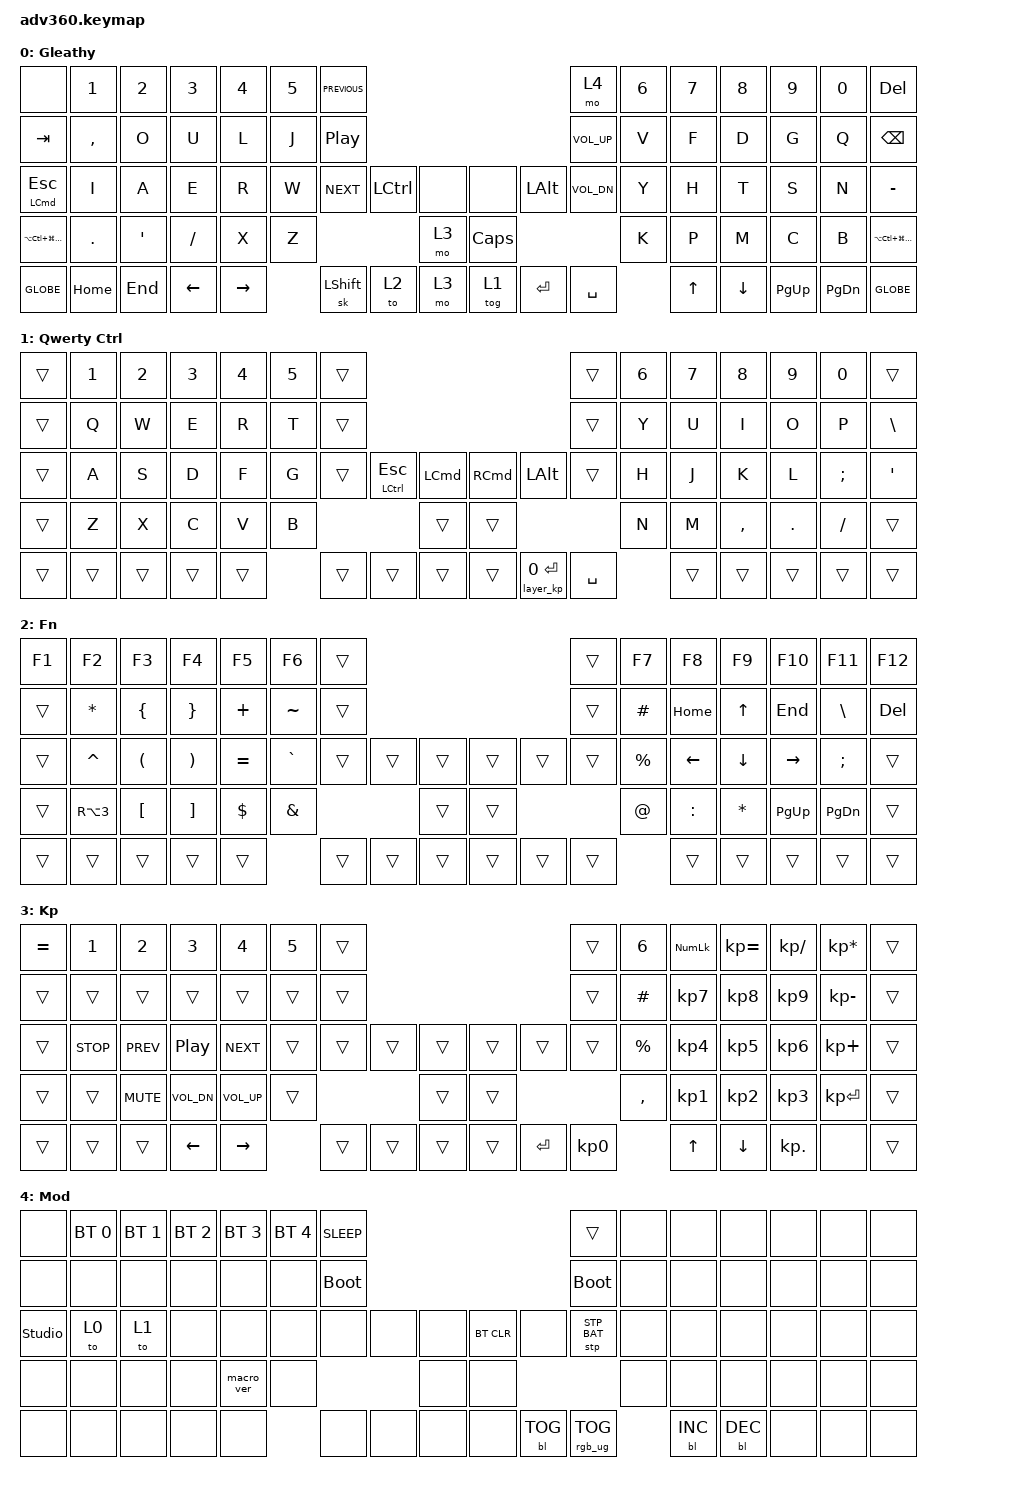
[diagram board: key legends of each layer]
#include <dt-bindings/zmk/stp.h>
#include <behaviors.dtsi>
#include <dt-bindings/zmk/backlight.h>
#include <dt-bindings/zmk/bt.h>
#include <dt-bindings/zmk/keys.h>
#include <dt-bindings/zmk/rgb.h>

&sk { quick-release; };

/ {
    behaviors {
        #include "macros.dtsi"
        #include "version.dtsi"

        hm: homerow_mods {
            compatible = "zmk,behavior-hold-tap";
            label = "HOMEROW_MODS";
            #binding-cells = <2>;
            tapping-term-ms = <200>;
            quick_tap_ms = <175>;
            flavor = "tap-preferred";
            bindings = <&kp>, <&kp>;
        };
    };

    macros {
        layer_kp: layer_then_key {
            compatible = "zmk,behavior-macro-two-param";
            #binding-cells = <2>;
            bindings = <&macro_param_1to1 &to MACRO_PLACEHOLDER &macro_param_2to1 &kp MACRO_PLACEHOLDER>;
            label = "LAYER_THEN_KEY";
        };
    };

    keymap {
        compatible = "zmk,keymap";

        gleathy {
            display-name = "Gleathy";
            bindings = <
&none                    &kp N1      &kp N2   &kp N3     &kp N4     &kp N5  &kp C_PREVIOUS                                                             &mo 4            &kp N6  &kp N7  &kp N8    &kp N9       &kp N0         &kp DELETE
&kp TAB                  &kp COMMA   &kp O    &kp U      &kp L      &kp J   &kp C_PLAY_PAUSE                                                           &kp C_VOLUME_UP  &kp V   &kp F   &kp D     &kp G        &kp Q          &kp BACKSPACE
&mt LEFT_COMMAND ESCAPE  &kp I       &kp A    &kp E      &kp R      &kp W   &kp C_NEXT        &kp LEFT_CONTROL  &none      &none         &kp LEFT_ALT  &kp C_VOL_DN     &kp Y   &kp H   &kp T     &kp S        &kp N          &kp MINUS
&kp LA(LC(LG(GLOBE)))    &kp PERIOD  &kp SQT  &kp SLASH  &kp X      &kp Z                                       &mo 3      &kp CAPSLOCK                                 &kp K   &kp P   &kp M     &kp C        &kp B          &kp LA(LC(LG(GLOBE)))
&kp GLOBE                &kp HOME    &kp END  &kp LEFT   &kp RIGHT          &sk LEFT_SHIFT    &to 2             &mo 3      &tog 1        &kp ENTER     &kp SPACE                &kp UP  &kp DOWN  &kp PAGE_UP  &kp PAGE_DOWN  &kp GLOBE
            >;
        };

        qwerty_ctrl {
            display-name = "Qwerty Ctrl";
            bindings = <
&trans  &kp N1  &kp N2  &kp N3  &kp N4  &kp N5  &trans                                                                                       &trans     &kp N6  &kp N7  &kp N8     &kp N9      &kp N0         &trans
&trans  &kp Q   &kp W   &kp E   &kp R   &kp T   &trans                                                                                       &trans     &kp Y   &kp U   &kp I      &kp O       &kp P          &kp BSLH
&trans  &kp A   &kp S   &kp D   &kp F   &kp G   &trans  &mt LEFT_CONTROL ESCAPE  &kp LEFT_COMMAND      &kp RIGHT_COMMAND  &kp LEFT_ALT       &trans     &kp H   &kp J   &kp K      &kp L       &kp SEMICOLON  &kp SQT
&trans  &kp Z   &kp X   &kp C   &kp V   &kp B                                    &trans                &trans                                           &kp N   &kp M   &kp COMMA  &kp PERIOD  &kp SLASH      &trans
&trans  &trans  &trans  &trans  &trans          &trans  &trans                   &trans                &trans             &layer_kp 0 ENTER  &kp SPACE          &trans  &trans     &trans      &trans         &trans
            >;
        };

        fn {
            display-name = "Fn";
            bindings = <
&kp F1  &kp F2            &kp F3                &kp F4                 &kp F5      &kp F6         &trans                                      &trans  &kp F7       &kp F8     &kp F9     &kp F10      &kp F11        &kp F12
&trans  &kp ASTERISK      &kp LEFT_BRACE        &kp RIGHT_BRACE        &kp PLUS    &kp TILDE      &trans                                      &trans  &kp POUND    &kp HOME   &kp UP     &kp END      &kp BACKSLASH  &kp DELETE
&trans  &kp CARET         &kp LEFT_PARENTHESIS  &kp RIGHT_PARENTHESIS  &kp EQUAL   &kp GRAVE      &trans  &trans  &trans      &trans  &trans  &trans  &kp PERCENT  &kp LEFT   &kp DOWN   &kp RIGHT    &kp SEMICOLON  &trans
&trans  &kp RA(NUMBER_3)  &kp LEFT_BRACKET      &kp RIGHT_BRACKET      &kp DOLLAR  &kp AMPERSAND                  &trans      &trans                  &kp AT_SIGN  &kp COLON  &kp ASTRK  &kp PAGE_UP  &kp PAGE_DOWN  &trans
&trans  &trans            &trans                &trans                 &trans                     &trans  &trans  &trans      &trans  &trans  &trans               &trans     &trans     &trans       &trans         &trans
            >;
        };

        keypad {
            display-name = "Kp";
            bindings = <
&kp EQUAL  &kp N1      &kp N2      &kp N3            &kp N4           &kp N5  &trans                                         &trans     &kp N6       &kp KP_NUM  &kp KP_EQUAL  &kp KP_DIVIDE  &kp KP_MULTIPLY  &trans
&trans     &trans      &trans      &trans            &trans           &trans  &trans                                         &trans     &kp POUND    &kp KP_N7   &kp KP_N8     &kp KP_N9      &kp KP_MINUS     &trans
&trans     &kp C_STOP  &kp C_PREV  &kp C_PLAY_PAUSE  &kp C_NEXT       &trans  &trans  &trans  &trans      &trans  &trans     &trans     &kp PERCENT  &kp KP_N4   &kp KP_N5     &kp KP_N6      &kp KP_PLUS      &trans
&trans     &trans      &kp C_MUTE  &kp C_VOL_DN      &kp C_VOLUME_UP  &trans                  &trans      &trans                        &kp COMMA    &kp KP_N1   &kp KP_N2     &kp KP_N3      &kp KP_ENTER     &trans
&trans     &trans      &trans      &kp LEFT          &kp RIGHT                &trans  &trans  &trans      &trans  &kp ENTER  &kp KP_N0               &kp UP      &kp DOWN      &kp KP_DOT     &none            &trans
            >;
        };

        mod {
            display-name = "Mod";
            bindings = <
&none           &bt BT_SEL 0  &bt BT_SEL 1  &bt BT_SEL 2  &bt BT_SEL 3  &bt BT_SEL 4  &kp C_SLEEP                                            &trans           &none  &none       &none       &none  &none  &none
&none           &none         &none         &none         &none         &none         &bootloader                                            &bootloader      &none  &none       &none       &none  &none  &none
&studio_unlock  &to 0         &to 1         &none         &none         &none         &none        &none  &none      &bt BT_CLR  &none       &stp STP_BAT     &none  &none       &none       &none  &none  &none
&none           &none         &none         &none         &macro_ver    &none                             &none      &none                                    &none  &none       &none       &none  &none  &none
&none           &none         &none         &none         &none                       &none        &none  &none      &none       &bl BL_TOG  &rgb_ug RGB_TOG         &bl BL_INC  &bl BL_DEC  &none  &none  &none
            >;
        };

        extra2 {
            display-name = "Purple";
            status = "reserved";
        };

        extra3 {
            display-name = "Cyan";
            status = "reserved";
        };

        extra4 {
            display-name = "Yellow";
            status = "reserved";
        };
    };
};
